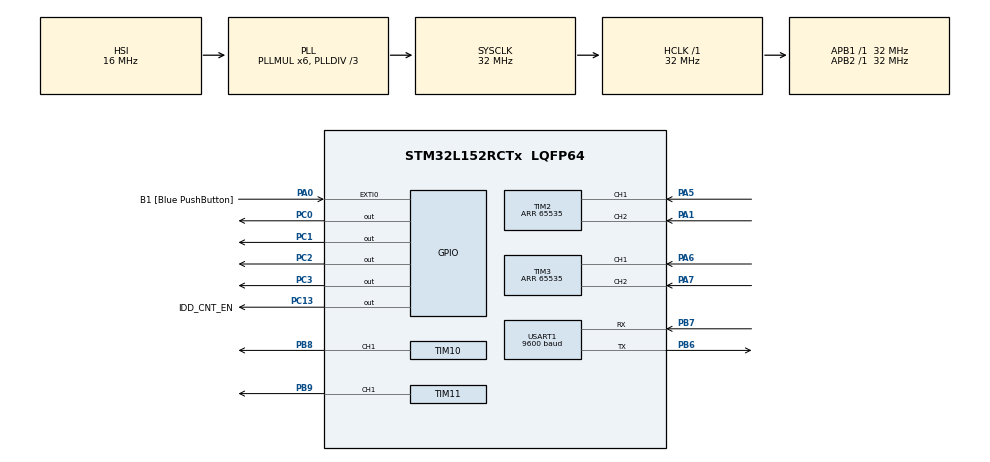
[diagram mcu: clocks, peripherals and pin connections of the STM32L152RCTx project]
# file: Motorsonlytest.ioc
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Mcu.Family=STM32L1
Mcu.Name=STM32L152RCTx
Mcu.Package=LQFP64
NVIC.PriorityGroup=NVIC_PRIORITYGROUP_0
NVIC.TIM5_IRQn=true\:0\:0\:false\:false\:true\:true
NVIC.USART1_IRQn=true\:0\:0\:false\:false\:true\:true
PA0-WKUP1.GPIO_Label=B1 [Blue PushButton]
PA0-WKUP1.GPIO_ModeDefaultEXTI=GPIO_MODE_EVT_RISING
PA0-WKUP1.GPIO_PuPd=GPIO_NOPULL
PA0-WKUP1.Signal=GPXTI0
PA1.GPIO_PuPd=GPIO_PULLUP
PA1.Signal=S_TIM2_CH2
PA10.GPIO_Label=COM2 [GH08172T_COM2]
PA10.GPIO_Mode=GPIO_MODE_AF_PP
PA10.GPIO_PuPd=GPIO_NOPULL
PA10.GPIO_Speed=GPIO_SPEED_FREQ_LOW
PA10.Signal=LCD_COM2
PA13.GPIO_Label=SWDIO
PA13.Signal=SYS_JTMS-SWDIO
PA14.GPIO_Label=SWCLK
PA14.Signal=SYS_JTCK-SWCLK
PA15.GPIO_Label=SEG12 [GH08172T_SEG12]
PA15.GPIO_Mode=GPIO_MODE_AF_PP
PA15.GPIO_PuPd=GPIO_NOPULL
PA15.GPIO_Speed=GPIO_SPEED_FREQ_LOW
PA15.Signal=LCD_SEG17
PA2.GPIO_Label=SEG1 [GH08172T_SEG1]
PA2.GPIO_Mode=GPIO_MODE_AF_PP
PA2.GPIO_PuPd=GPIO_NOPULL
PA2.GPIO_Speed=GPIO_SPEED_FREQ_LOW
PA2.Signal=LCD_SEG1
PA3.GPIO_Label=SEG2 [GH08172T_SEG2]
PA3.GPIO_Mode=GPIO_MODE_AF_PP
PA3.GPIO_PuPd=GPIO_NOPULL
PA3.GPIO_Speed=GPIO_SPEED_FREQ_LOW
PA3.Signal=LCD_SEG2
PA4.GPIO_Label=IDD_Measurement
PA4.GPIO_Mode=GPIO_MODE_ANALOG
PA4.GPIO_PuPd=GPIO_NOPULL
PA4.Signal=ADC_IN4
PA5.GPIO_PuPd=GPIO_PULLUP
PA5.Signal=S_TIM2_CH1_ETR
PA6.GPIO_PuPd=GPIO_PULLUP
PA6.Signal=S_TIM3_CH1
PA7.GPIO_PuPd=GPIO_PULLUP
PA7.Signal=S_TIM3_CH2
PA8.GPIO_Label=COM0 [GH08172T_COM0]
PA8.GPIO_Mode=GPIO_MODE_AF_PP
PA8.GPIO_PuPd=GPIO_NOPULL
PA8.GPIO_Speed=GPIO_SPEED_FREQ_LOW
PA8.Signal=LCD_COM0
PA9.GPIO_Label=COM1 [GH08172T_COM1]
PA9.GPIO_Mode=GPIO_MODE_AF_PP
PA9.GPIO_PuPd=GPIO_NOPULL
PA9.GPIO_Speed=GPIO_SPEED_FREQ_LOW
PA9.Signal=LCD_COM1
PB0.GPIO_Label=GRP3_Sampling [Touch_Slider_3]
PB0.Signal=TS_G3_IO1
PB1.GPIO_Label=GRP3_Ground [Touch_Slider_3]
PB1.Signal=TS_G3_IO2
PB10.GPIO_Label=SEG6 [GH08172T_SEG6]
PB10.GPIO_Mode=GPIO_MODE_AF_PP
PB10.GPIO_PuPd=GPIO_NOPULL
PB10.GPIO_Speed=GPIO_SPEED_FREQ_LOW
PB10.Signal=LCD_SEG10
PB11.GPIO_Label=SEG7 [GH08172T_SEG7]
PB11.GPIO_Mode=GPIO_MODE_AF_PP
PB11.GPIO_PuPd=GPIO_NOPULL
PB11.GPIO_Speed=GPIO_SPEED_FREQ_LOW
PB11.Signal=LCD_SEG11
PB12.GPIO_Label=SEG8 [GH08172T_SEG8]
PB12.GPIO_Mode=GPIO_MODE_AF_PP
PB12.GPIO_PuPd=GPIO_NOPULL
PB12.GPIO_Speed=GPIO_SPEED_FREQ_LOW
PB12.Signal=LCD_SEG12
PB13.GPIO_Label=SEG9 [GH08172T_SEG9]
PB13.GPIO_Mode=GPIO_MODE_AF_PP
PB13.GPIO_PuPd=GPIO_NOPULL
PB13.GPIO_Speed=GPIO_SPEED_FREQ_LOW
PB13.Signal=LCD_SEG13
PB14.GPIO_Label=SEG10 [GH08172T_SEG10]
PB14.GPIO_Mode=GPIO_MODE_AF_PP
PB14.GPIO_PuPd=GPIO_NOPULL
PB14.GPIO_Speed=GPIO_SPEED_FREQ_LOW
PB14.Signal=LCD_SEG14
PB15.GPIO_Label=SEG11 [GH08172T_SEG11]
PB15.GPIO_Mode=GPIO_MODE_AF_PP
PB15.GPIO_PuPd=GPIO_NOPULL
PB15.GPIO_Speed=GPIO_SPEED_FREQ_LOW
PB15.Signal=LCD_SEG15
PB3.GPIO_Label=SEG3 [GH08172T_SEG3]
PB3.GPIO_Mode=GPIO_MODE_AF_PP
PB3.GPIO_PuPd=GPIO_NOPULL
PB3.GPIO_Speed=GPIO_SPEED_FREQ_LOW
PB3.Signal=LCD_SEG7
PB4.GPIO_Label=SEG4 [GH08172T_SEG4]
PB4.GPIO_Mode=GPIO_MODE_AF_PP
PB4.GPIO_PuPd=GPIO_NOPULL
PB4.GPIO_Speed=GPIO_SPEED_FREQ_LOW
PB4.Signal=LCD_SEG8
PB5.GPIO_Label=SEG5 [GH08172T_SEG5]
PB5.GPIO_Mode=GPIO_MODE_AF_PP
PB5.GPIO_PuPd=GPIO_NOPULL
PB5.GPIO_Speed=GPIO_SPEED_FREQ_LOW
PB5.Signal=LCD_SEG9
PB6.Mode=Asynchronous
PB6.Signal=USART1_TX
PB7.Mode=Asynchronous
PB7.Signal=USART1_RX
PB8.Signal=S_TIM10_CH1
PB9.Signal=S_TIM11_CH1
PC0.Signal=GPIO_Output
PC1.Signal=GPIO_Output
PC10.GPIO_Label=SEG22 [GH08172T_SEG22]
PC10.GPIO_Mode=GPIO_MODE_AF_PP
PC10.GPIO_PuPd=GPIO_NOPULL
PC10.GPIO_Speed=GPIO_SPEED_FREQ_LOW
PC10.Signal=LCD_SEG28
PC11.GPIO_Label=SEG23 [GH08172T_SEG23]
PC11.GPIO_Mode=GPIO_MODE_AF_PP
PC11.GPIO_PuPd=GPIO_NOPULL
PC11.GPIO_Speed=GPIO_SPEED_FREQ_LOW
PC11.Signal=LCD_SEG29
PC13-WKUP2.GPIO_Label=IDD_CNT_EN
PC13-WKUP2.Signal=GPIO_Output
PC14-OSC32_IN.GPIO_Label=PC14-OSC32_IN
PC14-OSC32_IN.Signal=RCC_OSC32_IN
PC15-OSC32_OUT.GPIO_Label=PC15-OSC32_OUT
PC15-OSC32_OUT.Signal=RCC_OSC32_OUT
PC2.Signal=GPIO_Output
PC3.Signal=GPIO_Output
PC4.GPIO_Label=GRP9_Sampling [Touch_Slider_2]
PC4.Signal=TS_G9_IO1
PC5.GPIO_Label=GRP9_Ground [Touch_Slider_2]
PC5.Signal=TS_G9_IO2
PC6.GPIO_Label=SEG18 [GH08172T_SEG18]
PC6.GPIO_Mode=GPIO_MODE_AF_PP
PC6.GPIO_PuPd=GPIO_NOPULL
PC6.GPIO_Speed=GPIO_SPEED_FREQ_LOW
PC6.Signal=LCD_SEG24
PC7.GPIO_Label=SEG19 [GH08172T_SEG19]
PC7.GPIO_Mode=GPIO_MODE_AF_PP
PC7.GPIO_PuPd=GPIO_NOPULL
PC7.GPIO_Speed=GPIO_SPEED_FREQ_LOW
PC7.Signal=LCD_SEG25
PC8.GPIO_Label=SEG20 [GH08172T_SEG20]
PC8.GPIO_Mode=GPIO_MODE_AF_PP
PC8.GPIO_PuPd=GPIO_NOPULL
PC8.GPIO_Speed=GPIO_SPEED_FREQ_LOW
PC8.Signal=LCD_SEG26
PC9.GPIO_Label=SEG21 [GH08172T_SEG21]
PC9.GPIO_Mode=GPIO_MODE_AF_PP
PC9.GPIO_PuPd=GPIO_NOPULL
PC9.GPIO_Speed=GPIO_SPEED_FREQ_LOW
PC9.Signal=LCD_SEG27
ProjectManager.HeapSize=0x200
ProjectManager.StackSize=0x400
ProjectManager.TargetToolchain=TrueSTUDIO
RCC.48MHZClocksFreq_Value=48000000
RCC.AHBFreq_Value=32000000
RCC.APB1Freq_Value=32000000
RCC.APB1TimFreq_Value=32000000
RCC.APB2Freq_Value=32000000
RCC.APB2TimFreq_Value=32000000
RCC.HCLKFreq_Value=32000000
RCC.HSE_VALUE=8000000
RCC.HSI_VALUE=16000000
RCC.LSE_VALUE=32768
RCC.MSI_VALUE=2097000
RCC.PLLDIV=RCC_PLL_DIV3
RCC.PLLMUL=RCC_PLL_MUL6
RCC.RTCClockSelectionVirtual=RCC_RTCCLKSOURCE_LSE
RCC.SYSCLKFreq_VALUE=32000000
RCC.SYSCLKSource=RCC_SYSCLKSOURCE_PLLCLK
RCC.USBOutput=48000000
RCC.VCOOutputFreq_Value=96000000
SH.S_TIM10_CH1.0=TIM10_CH1,PWM Generation1 CH1
SH.S_TIM11_CH1.0=TIM11_CH1,PWM Generation1 CH1
SH.S_TIM2_CH1_ETR.0=TIM2_CH1,Encoder_Interface
SH.S_TIM2_CH2.0=TIM2_CH2,Encoder_Interface
SH.S_TIM3_CH1.0=TIM3_CH1,Encoder_Interface
SH.S_TIM3_CH2.0=TIM3_CH2,Encoder_Interface
TIM10.Channel=TIM_CHANNEL_1
TIM10.Period=65535
TIM11.Channel=TIM_CHANNEL_1
TIM11.Period=65535
TIM2.EncoderMode=TIM_ENCODERMODE_TI12
TIM2.Period=65535
TIM3.Period=65535
TIM5.Period=3200000
USART1.BaudRate=9600
USART1.VirtualMode=VM_ASYNC
VP_TIM10_VS_ClockSourceINT.Mode=Internal
VP_TIM11_VS_ClockSourceINT.Mode=Internal
VP_TIM5_VS_ClockSourceINT.Mode=Internal
board=32L152CDISCOVERY

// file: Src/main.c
/**
  ******************************************************************************
  * @file           : main.c
  * @brief          : Main program body
  ******************************************************************************
  ** This notice applies to any and all portions of this file
  * that are not between comment pairs USER CODE BEGIN and
  * USER CODE END. Other portions of this file, whether
  * inserted by the user or by software development tools
  * are owned by their respective copyright owners.
  *
  * COPYRIGHT(c) 2018 STMicroelectronics
  *
  * Redistribution and use in source and binary forms, with or without modification,
  * are permitted provided that the following conditions are met:
  *   1. Redistributions of source code must retain the above copyright notice,
  *      this list of conditions and the following disclaimer.
  *   2. Redistributions in binary form must reproduce the above copyright notice,
  *      this list of conditions and the following disclaimer in the documentation
  *      and/or other materials provided with the distribution.
  *   3. Neither the name of STMicroelectronics nor the names of its contributors
  *      may be used to endorse or promote products derived from this software
  *      without specific prior written permission.
  *
  * THIS SOFTWARE IS PROVIDED BY THE COPYRIGHT HOLDERS AND CONTRIBUTORS "AS IS"
  * AND ANY EXPRESS OR IMPLIED WARRANTIES, INCLUDING, BUT NOT LIMITED TO, THE
  * IMPLIED WARRANTIES OF MERCHANTABILITY AND FITNESS FOR A PARTICULAR PURPOSE ARE
  * DISCLAIMED. IN NO EVENT SHALL THE COPYRIGHT HOLDER OR CONTRIBUTORS BE LIABLE
  * FOR ANY DIRECT, INDIRECT, INCIDENTAL, SPECIAL, EXEMPLARY, OR CONSEQUENTIAL
  * DAMAGES (INCLUDING, BUT NOT LIMITED TO, PROCUREMENT OF SUBSTITUTE GOODS OR
  * SERVICES; LOSS OF USE, DATA, OR PROFITS; OR BUSINESS INTERRUPTION) HOWEVER
  * CAUSED AND ON ANY THEORY OF LIABILITY, WHETHER IN CONTRACT, STRICT LIABILITY,
  * OR TORT (INCLUDING NEGLIGENCE OR OTHERWISE) ARISING IN ANY WAY OUT OF THE USE
  * OF THIS SOFTWARE, EVEN IF ADVISED OF THE POSSIBILITY OF SUCH DAMAGE.
  *
  ******************************************************************************
  */
#include "main.h"
#include "stm32l1xx_hal.h"
#include <stdio.h>
#include <string.h>
#include <stdbool.h>
//#include <math.h>
#include <stdlib.h>
#include "pid_controller.h"
TIM_HandleTypeDef htim2;
TIM_HandleTypeDef htim3;
TIM_HandleTypeDef htim5;
TIM_HandleTypeDef htim10;
TIM_HandleTypeDef htim11;

UART_HandleTypeDef huart1;

/* USER CODE BEGIN PV */
/* Private variables ---------------------------------------------------------*/
#ifndef M_PI
#    define M_PI 3.14159265358979323846
#endif
#define WHEELRAD 90.0
#define CENTERDIS 350
#define KP 0
#define KI 0
#define KD 0
PIDControl PIDR;
PIDControl PIDL;
unsigned char Rx_indx, Rx_data[2], Rx_Buffer[100];
int Transfer_cplt;
enum states {
  STP,
  MOV
};

enum states state;
struct motor{
	float setRPM;
	bool dir;
	float distance_traveled;
	float prevpos;
	float setDis;
	uint16_t prevcount;
};
struct motor left;
struct motor right;
bool distance_set = false;
bool angle_set = false;
/* USER CODE END PV */
//reassign printf to usart1
#ifdef __GNUC__
  /* With GCC/RAISONANCE, small printf (option LD Linker->Libraries->Small printf
     set to 'Yes') calls __io_putchar() */
  #define PUTCHAR_PROTOTYPE int __io_putchar(int ch)
#else
  #define PUTCHAR_PROTOTYPE int fputc(int ch, FILE *f)
#endif /* __GNUC__ */

/**
  * @brief  Retargets the C library printf function to the USART.
  * @param  None
  * @retval None
  */
PUTCHAR_PROTOTYPE
{
    /* Place your implementation of fputc here */
    /* e.g. write a character to the USART */
    HAL_UART_Transmit(&huart1, (uint8_t *)&ch, 1, 100);
    return ch;
}
void SystemClock_Config(void);
static void MX_GPIO_Init(void);
static void MX_TIM2_Init(void);
static void MX_TIM3_Init(void);
static void MX_TIM10_Init(void);
static void MX_TIM11_Init(void);
static void MX_USART1_UART_Init(void);
static void MX_TIM5_Init(void);

void HAL_TIM_MspPostInit(TIM_HandleTypeDef *htim);
void setLin(float dis, float spd);
void setArc(float r, float w, float phi);
void setPWM(TIM_HandleTypeDef timer, uint32_t channel, uint16_t period,
uint16_t pulse);
static void initMot(void);

/* USER CODE BEGIN PFP */
/* Private function prototypes -----------------------------------------------*/

/* USER CODE END PFP */

int main(void)
{

  /* MCU Configuration----------------------------------------------------------*/

  /* Reset of all peripherals, Initializes the Flash interface and the Systick. */
  HAL_Init();

  /* Configure the system clock */
  SystemClock_Config();

  /* Initialize all configured peripherals */
  MX_GPIO_Init();
  MX_TIM2_Init();
  MX_TIM3_Init();
  MX_TIM10_Init();
  MX_TIM11_Init();
  MX_USART1_UART_Init();
  MX_TIM5_Init();
  /* USER CODE BEGIN 2 */
  HAL_TIM_Base_Start(&htim10);
  HAL_TIM_Base_Start(&htim11);
  HAL_TIM_PWM_Start(&htim10,TIM_CHANNEL_1);
  HAL_TIM_PWM_Start(&htim11,TIM_CHANNEL_1);
  HAL_TIM_Encoder_Start(&htim2,TIM_CHANNEL_ALL);
  HAL_TIM_Encoder_Start(&htim3,TIM_CHANNEL_ALL);
  HAL_TIM_Base_Start_IT(&htim5);
  Transfer_cplt = 0;
  HAL_UART_Receive_IT(&huart1, Rx_data, 1);   //activate UART receive interrupt
  initMot();
  PIDInit(&PIDR, KP, KI, KD, .1, 0, 255, AUTOMATIC, DIRECT);
  PIDInit(&PIDL, KP, KI, KD, .1, 0, 255, AUTOMATIC, DIRECT);
  /* USER CODE END 2 */

  /* Infinite loop */
  while (1)
  {
	  if(Transfer_cplt >= 1)
	  {
		  char cmd[100];
		  memset(cmd,0,sizeof cmd);
		  strcpy(cmd, Rx_Buffer);
		  cmd[Transfer_cplt]='\0';
		  char* tkpnt;
		  tkpnt = strtok(cmd, " ");
		  if(strncmp(tkpnt, "l",1)==0){
		  }else if(strncmp(tkpnt, "l",1)==0){
			tkpnt = strtok(NULL, " ");
			float lindis = atof(tkpnt);
			tkpnt = strtok(NULL, " ");
			float linspd = atof(tkpnt);
			setLin(lindis, linspd);
			state = MOV;
		  }
		  else if (strncmp(tkpnt, "r",1)==0)
		  {
			tkpnt = strtok(NULL, " ");
			float rotomega = atof(tkpnt);
			tkpnt = strtok(NULL, " ");
			float rotphi = atof(tkpnt);
			float rotR = 0.0;
			setArc(rotR, rotomega, rotphi);
			state = MOV;
		  }
		  else if (strncmp(tkpnt, "a",1)==0)
		  {
			tkpnt = strtok(NULL, " ");
			float rotR = atof(tkpnt);
			tkpnt = strtok(NULL, " ");
			float rotomega = atof(tkpnt);
			tkpnt = strtok(NULL, " ");
			float rotphi = atof(tkpnt);
			setArc(rotR, rotomega, rotphi);
			state = MOV;
		  }
		  else
		  {
			state = STP;
		  }
	  }

  }

}

void SystemClock_Config(void)
{

  RCC_OscInitTypeDef RCC_OscInitStruct;
  RCC_ClkInitTypeDef RCC_ClkInitStruct;

    /**Configure the main internal regulator output voltage
    */
  __HAL_PWR_VOLTAGESCALING_CONFIG(PWR_REGULATOR_VOLTAGE_SCALE1);

    /**Initializes the CPU, AHB and APB busses clocks
    */
  RCC_OscInitStruct.OscillatorType = RCC_OSCILLATORTYPE_HSI;
  RCC_OscInitStruct.HSIState = RCC_HSI_ON;
  RCC_OscInitStruct.HSICalibrationValue = 16;
  RCC_OscInitStruct.PLL.PLLState = RCC_PLL_ON;
  RCC_OscInitStruct.PLL.PLLSource = RCC_PLLSOURCE_HSI;
  RCC_OscInitStruct.PLL.PLLMUL = RCC_PLL_MUL6;
  RCC_OscInitStruct.PLL.PLLDIV = RCC_PLL_DIV3;
  if (HAL_RCC_OscConfig(&RCC_OscInitStruct) != HAL_OK)
  {
    _Error_Handler(__FILE__, __LINE__);
  }

    /**Initializes the CPU, AHB and APB busses clocks
    */
  RCC_ClkInitStruct.ClockType = RCC_CLOCKTYPE_HCLK|RCC_CLOCKTYPE_SYSCLK
                              |RCC_CLOCKTYPE_PCLK1|RCC_CLOCKTYPE_PCLK2;
  RCC_ClkInitStruct.SYSCLKSource = RCC_SYSCLKSOURCE_PLLCLK;
  RCC_ClkInitStruct.AHBCLKDivider = RCC_SYSCLK_DIV1;
  RCC_ClkInitStruct.APB1CLKDivider = RCC_HCLK_DIV1;
  RCC_ClkInitStruct.APB2CLKDivider = RCC_HCLK_DIV1;

  if (HAL_RCC_ClockConfig(&RCC_ClkInitStruct, FLASH_LATENCY_1) != HAL_OK)
  {
    _Error_Handler(__FILE__, __LINE__);
  }

    /**Configure the Systick interrupt time
    */
  HAL_SYSTICK_Config(HAL_RCC_GetHCLKFreq()/1000);

    /**Configure the Systick
    */
  HAL_SYSTICK_CLKSourceConfig(SYSTICK_CLKSOURCE_HCLK);

  /* SysTick_IRQn interrupt configuration */
  HAL_NVIC_SetPriority(SysTick_IRQn, 0, 0);
}

/* TIM2 init function */
static void MX_TIM2_Init(void)
{

  TIM_Encoder_InitTypeDef sConfig;
  TIM_MasterConfigTypeDef sMasterConfig;

  htim2.Instance = TIM2;
  htim2.Init.Prescaler = 0;
  htim2.Init.CounterMode = TIM_COUNTERMODE_UP;
  htim2.Init.Period = 65535;
  htim2.Init.ClockDivision = TIM_CLOCKDIVISION_DIV1;
  sConfig.EncoderMode = TIM_ENCODERMODE_TI12;
  sConfig.IC1Polarity = TIM_ICPOLARITY_RISING;
  sConfig.IC1Selection = TIM_ICSELECTION_DIRECTTI;
  sConfig.IC1Prescaler = TIM_ICPSC_DIV1;
  sConfig.IC1Filter = 0;
  sConfig.IC2Polarity = TIM_ICPOLARITY_RISING;
  sConfig.IC2Selection = TIM_ICSELECTION_DIRECTTI;
  sConfig.IC2Prescaler = TIM_ICPSC_DIV1;
  sConfig.IC2Filter = 0;
  if (HAL_TIM_Encoder_Init(&htim2, &sConfig) != HAL_OK)
  {
    _Error_Handler(__FILE__, __LINE__);
  }

  sMasterConfig.MasterOutputTrigger = TIM_TRGO_RESET;
  sMasterConfig.MasterSlaveMode = TIM_MASTERSLAVEMODE_DISABLE;
  if (HAL_TIMEx_MasterConfigSynchronization(&htim2, &sMasterConfig) != HAL_OK)
  {
    _Error_Handler(__FILE__, __LINE__);
  }

}

/* TIM3 init function */
static void MX_TIM3_Init(void)
{

  TIM_Encoder_InitTypeDef sConfig;
  TIM_MasterConfigTypeDef sMasterConfig;

  htim3.Instance = TIM3;
  htim3.Init.Prescaler = 0;
  htim3.Init.CounterMode = TIM_COUNTERMODE_UP;
  htim3.Init.Period = 65535;
  htim3.Init.ClockDivision = TIM_CLOCKDIVISION_DIV1;
  sConfig.EncoderMode = TIM_ENCODERMODE_TI1;
  sConfig.IC1Polarity = TIM_ICPOLARITY_RISING;
  sConfig.IC1Selection = TIM_ICSELECTION_DIRECTTI;
  sConfig.IC1Prescaler = TIM_ICPSC_DIV1;
  sConfig.IC1Filter = 0;
  sConfig.IC2Polarity = TIM_ICPOLARITY_RISING;
  sConfig.IC2Selection = TIM_ICSELECTION_DIRECTTI;
  sConfig.IC2Prescaler = TIM_ICPSC_DIV1;
  sConfig.IC2Filter = 0;
  if (HAL_TIM_Encoder_Init(&htim3, &sConfig) != HAL_OK)
  {
    _Error_Handler(__FILE__, __LINE__);
  }

  sMasterConfig.MasterOutputTrigger = TIM_TRGO_RESET;
  sMasterConfig.MasterSlaveMode = TIM_MASTERSLAVEMODE_DISABLE;
  if (HAL_TIMEx_MasterConfigSynchronization(&htim3, &sMasterConfig) != HAL_OK)
  {
    _Error_Handler(__FILE__, __LINE__);
  }

}

/* TIM5 init function */
static void MX_TIM5_Init(void)
{

  TIM_ClockConfigTypeDef sClockSourceConfig;
  TIM_MasterConfigTypeDef sMasterConfig;

  htim5.Instance = TIM5;
  htim5.Init.Prescaler = 0;
  htim5.Init.CounterMode = TIM_COUNTERMODE_UP;
  htim5.Init.Period = 3200000;
  htim5.Init.ClockDivision = TIM_CLOCKDIVISION_DIV1;
  if (HAL_TIM_Base_Init(&htim5) != HAL_OK)
  {
    _Error_Handler(__FILE__, __LINE__);
  }

  sClockSourceConfig.ClockSource = TIM_CLOCKSOURCE_INTERNAL;
  if (HAL_TIM_ConfigClockSource(&htim5, &sClockSourceConfig) != HAL_OK)
  {
    _Error_Handler(__FILE__, __LINE__);
  }

  sMasterConfig.MasterOutputTrigger = TIM_TRGO_RESET;
  sMasterConfig.MasterSlaveMode = TIM_MASTERSLAVEMODE_DISABLE;
  if (HAL_TIMEx_MasterConfigSynchronization(&htim5, &sMasterConfig) != HAL_OK)
  {
    _Error_Handler(__FILE__, __LINE__);
  }

}

/* TIM10 init function */
static void MX_TIM10_Init(void)
{

  TIM_ClockConfigTypeDef sClockSourceConfig;
  TIM_OC_InitTypeDef sConfigOC;

  htim10.Instance = TIM10;
  htim10.Init.Prescaler = 0;
  htim10.Init.CounterMode = TIM_COUNTERMODE_UP;
  htim10.Init.Period = 65535;
  htim10.Init.ClockDivision = TIM_CLOCKDIVISION_DIV1;
  if (HAL_TIM_Base_Init(&htim10) != HAL_OK)
  {
    _Error_Handler(__FILE__, __LINE__);
  }

  sClockSourceConfig.ClockSource = TIM_CLOCKSOURCE_INTERNAL;
  if (HAL_TIM_ConfigClockSource(&htim10, &sClockSourceConfig) != HAL_OK)
  {
    _Error_Handler(__FILE__, __LINE__);
  }

  if (HAL_TIM_PWM_Init(&htim10) != HAL_OK)
  {
    _Error_Handler(__FILE__, __LINE__);
  }

  sConfigOC.OCMode = TIM_OCMODE_PWM1;
  sConfigOC.Pulse = 0;
  sConfigOC.OCPolarity = TIM_OCPOLARITY_HIGH;
  sConfigOC.OCFastMode = TIM_OCFAST_DISABLE;
  if (HAL_TIM_PWM_ConfigChannel(&htim10, &sConfigOC, TIM_CHANNEL_1) != HAL_OK)
  {
    _Error_Handler(__FILE__, __LINE__);
  }

  HAL_TIM_MspPostInit(&htim10);

}

/* TIM11 init function */
static void MX_TIM11_Init(void)
{

  TIM_ClockConfigTypeDef sClockSourceConfig;
  TIM_OC_InitTypeDef sConfigOC;

  htim11.Instance = TIM11;
  htim11.Init.Prescaler = 0;
  htim11.Init.CounterMode = TIM_COUNTERMODE_UP;
  htim11.Init.Period = 65535;
  htim11.Init.ClockDivision = TIM_CLOCKDIVISION_DIV1;
  if (HAL_TIM_Base_Init(&htim11) != HAL_OK)
  {
    _Error_Handler(__FILE__, __LINE__);
  }

  sClockSourceConfig.ClockSource = TIM_CLOCKSOURCE_INTERNAL;
  if (HAL_TIM_ConfigClockSource(&htim11, &sClockSourceConfig) != HAL_OK)
  {
    _Error_Handler(__FILE__, __LINE__);
  }

  if (HAL_TIM_PWM_Init(&htim11) != HAL_OK)
  {
    _Error_Handler(__FILE__, __LINE__);
  }

  sConfigOC.OCMode = TIM_OCMODE_PWM1;
  sConfigOC.Pulse = 0;
  sConfigOC.OCPolarity = TIM_OCPOLARITY_HIGH;
  sConfigOC.OCFastMode = TIM_OCFAST_DISABLE;
  if (HAL_TIM_PWM_ConfigChannel(&htim11, &sConfigOC, TIM_CHANNEL_1) != HAL_OK)
  {
    _Error_Handler(__FILE__, __LINE__);
  }

  HAL_TIM_MspPostInit(&htim11);

}

/* USART1 init function */
static void MX_USART1_UART_Init(void)
{

  huart1.Instance = USART1;
  huart1.Init.BaudRate = 9600;
  huart1.Init.WordLength = UART_WORDLENGTH_8B;
  huart1.Init.StopBits = UART_STOPBITS_1;
  huart1.Init.Parity = UART_PARITY_NONE;
  huart1.Init.Mode = UART_MODE_TX_RX;
  huart1.Init.HwFlowCtl = UART_HWCONTROL_NONE;
  huart1.Init.OverSampling = UART_OVERSAMPLING_16;
  if (HAL_UART_Init(&huart1) != HAL_OK)
  {
    _Error_Handler(__FILE__, __LINE__);
  }

}

/** Configure pins as
        * Analog
        * Input
        * Output
        * EVENT_OUT
        * EXTI
     PA2   ------> LCD_SEG1
     PA3   ------> LCD_SEG2
     PA4   ------> ADC_IN4
     PC4   ------> TS_G9_IO1
     PC5   ------> TS_G9_IO2
     PB0   ------> TS_G3_IO1
     PB1   ------> TS_G3_IO2
     PB10   ------> LCD_SEG10
     PB11   ------> LCD_SEG11
     PB12   ------> LCD_SEG12
     PB13   ------> LCD_SEG13
     PB14   ------> LCD_SEG14
     PB15   ------> LCD_SEG15
     PC6   ------> LCD_SEG24
     PC7   ------> LCD_SEG25
     PC8   ------> LCD_SEG26
     PC9   ------> LCD_SEG27
     PA8   ------> LCD_COM0
     PA9   ------> LCD_COM1
     PA10   ------> LCD_COM2
     PA15   ------> LCD_SEG17
     PC10   ------> LCD_SEG28
     PC11   ------> LCD_SEG29
     PB3   ------> LCD_SEG7
     PB4   ------> LCD_SEG8
     PB5   ------> LCD_SEG9
*/
static void MX_GPIO_Init(void)
{

  GPIO_InitTypeDef GPIO_InitStruct;

  /* GPIO Ports Clock Enable */
  __HAL_RCC_GPIOC_CLK_ENABLE();
  __HAL_RCC_GPIOA_CLK_ENABLE();
  __HAL_RCC_GPIOB_CLK_ENABLE();

  /*Configure GPIO pin Output Level */
  HAL_GPIO_WritePin(GPIOC, IDD_CNT_EN_Pin|GPIO_PIN_0|GPIO_PIN_1|GPIO_PIN_2
                          |GPIO_PIN_3, GPIO_PIN_RESET);

  /*Configure GPIO pins : IDD_CNT_EN_Pin PC0 PC1 PC2
                           PC3 */
  GPIO_InitStruct.Pin = IDD_CNT_EN_Pin|GPIO_PIN_0|GPIO_PIN_1|GPIO_PIN_2
                          |GPIO_PIN_3;
  GPIO_InitStruct.Mode = GPIO_MODE_OUTPUT_PP;
  GPIO_InitStruct.Pull = GPIO_NOPULL;
  GPIO_InitStruct.Speed = GPIO_SPEED_FREQ_LOW;
  HAL_GPIO_Init(GPIOC, &GPIO_InitStruct);

  /*Configure GPIO pin : B1_Pin */
  GPIO_InitStruct.Pin = B1_Pin;
  GPIO_InitStruct.Mode = GPIO_MODE_EVT_RISING;
  GPIO_InitStruct.Pull = GPIO_NOPULL;
  HAL_GPIO_Init(B1_GPIO_Port, &GPIO_InitStruct);

  /*Configure GPIO pins : SEG1_Pin SEG2_Pin COM0_Pin COM1_Pin
                           COM2_Pin SEG12_Pin */
  GPIO_InitStruct.Pin = SEG1_Pin|SEG2_Pin|COM0_Pin|COM1_Pin
                          |COM2_Pin|SEG12_Pin;
  GPIO_InitStruct.Mode = GPIO_MODE_AF_PP;
  GPIO_InitStruct.Pull = GPIO_NOPULL;
  GPIO_InitStruct.Speed = GPIO_SPEED_FREQ_LOW;
  GPIO_InitStruct.Alternate = GPIO_AF11_LCD;
  HAL_GPIO_Init(GPIOA, &GPIO_InitStruct);

  /*Configure GPIO pin : IDD_Measurement_Pin */
  GPIO_InitStruct.Pin = IDD_Measurement_Pin;
  GPIO_InitStruct.Mode = GPIO_MODE_ANALOG;
  GPIO_InitStruct.Pull = GPIO_NOPULL;
  HAL_GPIO_Init(IDD_Measurement_GPIO_Port, &GPIO_InitStruct);

  /*Configure GPIO pins : GRP9_Sampling_Pin GRP9_Ground_Pin */
  GPIO_InitStruct.Pin = GRP9_Sampling_Pin|GRP9_Ground_Pin;
  GPIO_InitStruct.Mode = GPIO_MODE_ANALOG;
  GPIO_InitStruct.Pull = GPIO_NOPULL;
  HAL_GPIO_Init(GPIOC, &GPIO_InitStruct);

  /*Configure GPIO pins : GRP3_Sampling_Pin GRP3_Ground_Pin */
  GPIO_InitStruct.Pin = GRP3_Sampling_Pin|GRP3_Ground_Pin;
  GPIO_InitStruct.Mode = GPIO_MODE_ANALOG;
  GPIO_InitStruct.Pull = GPIO_NOPULL;
  HAL_GPIO_Init(GPIOB, &GPIO_InitStruct);

  /*Configure GPIO pins : SEG6_Pin SEG7_Pin SEG8_Pin SEG9_Pin
                           SEG10_Pin SEG11_Pin SEG3_Pin SEG4_Pin
                           SEG5_Pin */
  GPIO_InitStruct.Pin = SEG6_Pin|SEG7_Pin|SEG8_Pin|SEG9_Pin
                          |SEG10_Pin|SEG11_Pin|SEG3_Pin|SEG4_Pin
                          |SEG5_Pin;
  GPIO_InitStruct.Mode = GPIO_MODE_AF_PP;
  GPIO_InitStruct.Pull = GPIO_NOPULL;
  GPIO_InitStruct.Speed = GPIO_SPEED_FREQ_LOW;
  GPIO_InitStruct.Alternate = GPIO_AF11_LCD;
  HAL_GPIO_Init(GPIOB, &GPIO_InitStruct);

  /*Configure GPIO pins : SEG18_Pin SEG19_Pin SEG20_Pin SEG21_Pin
                           SEG22_Pin SEG23_Pin */
  GPIO_InitStruct.Pin = SEG18_Pin|SEG19_Pin|SEG20_Pin|SEG21_Pin
                          |SEG22_Pin|SEG23_Pin;
  GPIO_InitStruct.Mode = GPIO_MODE_AF_PP;
  GPIO_InitStruct.Pull = GPIO_NOPULL;
  GPIO_InitStruct.Speed = GPIO_SPEED_FREQ_LOW;
  GPIO_InitStruct.Alternate = GPIO_AF11_LCD;
  HAL_GPIO_Init(GPIOC, &GPIO_InitStruct);

}

/* USER CODE BEGIN 4 */
void HAL_TIM_PeriodElapsedCallback(TIM_HandleTypeDef *htim){
	if(state == STP){
		return;
	}
	if(right.dir == true) {
		HAL_GPIO_WritePin(GPIOC, GPIO_PIN_0, GPIO_PIN_SET);
		HAL_GPIO_WritePin(GPIOC, GPIO_PIN_1, GPIO_PIN_RESET);
	} else if (right.setRPM == 0.0) {
		HAL_GPIO_WritePin(GPIOC, GPIO_PIN_0, GPIO_PIN_RESET);
		HAL_GPIO_WritePin(GPIOC, GPIO_PIN_1, GPIO_PIN_RESET);
	} else {
		HAL_GPIO_WritePin(GPIOC, GPIO_PIN_0, GPIO_PIN_RESET);
		HAL_GPIO_WritePin(GPIOC, GPIO_PIN_1, GPIO_PIN_SET);
	}
	if(left.dir == true) {
		HAL_GPIO_WritePin(GPIOC, GPIO_PIN_2, GPIO_PIN_SET);
		HAL_GPIO_WritePin(GPIOC, GPIO_PIN_3, GPIO_PIN_RESET);
	} else if (left.setRPM == 0.0) {
		HAL_GPIO_WritePin(GPIOC, GPIO_PIN_2, GPIO_PIN_RESET);
		HAL_GPIO_WritePin(GPIOC, GPIO_PIN_3, GPIO_PIN_RESET);
	} else {
		HAL_GPIO_WritePin(GPIOC, GPIO_PIN_2, GPIO_PIN_RESET);
		HAL_GPIO_WritePin(GPIOC, GPIO_PIN_3, GPIO_PIN_SET);
	}
	uint16_t newposition1;
	uint16_t newposition2;
	if(__HAL_TIM_IS_TIM_COUNTING_DOWN(&htim3)){
		if(right.prevcount < __HAL_TIM_GET_COUNTER(&htim3)){
			newposition1 = 65535-__HAL_TIM_GET_COUNTER(&htim3) +right.prevcount;
		}else{
			newposition1 =abs(__HAL_TIM_GET_COUNTER(&htim3)-right.prevcount);
		}
	}else{
		if(right.prevcount < __HAL_TIM_GET_COUNTER(&htim3)){
			newposition1 = __HAL_TIM_GET_COUNTER(&htim3) + 65535 - right.prevcount;
		}else{
			newposition1 =abs(__HAL_TIM_GET_COUNTER(&htim3)-right.prevcount);
		}
	}
	if(__HAL_TIM_IS_TIM_COUNTING_DOWN(&htim2)){
			if(left.prevcount < __HAL_TIM_GET_COUNTER(&htim2)){
				newposition2 = 65535-__HAL_TIM_GET_COUNTER(&htim2) +left.prevcount;
			}else{
				newposition2 =abs(__HAL_TIM_GET_COUNTER(&htim2)-left.prevcount);
			}
		}else{
			if(left.prevcount < __HAL_TIM_GET_COUNTER(&htim3)){
				newposition2 = __HAL_TIM_GET_COUNTER(&htim2) + 65535 - left.prevcount;
			}else{
				newposition2 =abs(__HAL_TIM_GET_COUNTER(&htim2)-left.prevcount);
			}
		}
	float vel1 = ((float)newposition1) * 1000.0 / (100.0); //encoder pulses per second
	float rpm1 = ((vel1 * 60)/1500); //Measured motor RPM
	float vel2 = ((float)newposition2) * 1000.0 / (100.0); //encoder pulses per second
	float rpm2 = ((vel2 * 60)/1500);
	float realspeed1 = (rpm1 * 2 * M_PI *WHEELRAD)/60; //Linear speed in mm/s
	float realspeed2 = (rpm2 * 2 * M_PI *WHEELRAD)/60; //Linear speed in mm/s
	if (right.dir)
	{
	rpm1 = -1*rpm1;
	}
	if (left.dir)
	{
	rpm2 = -1*rpm2;
	}
	PIDSetpointSet(&PIDR,right.setRPM);
	PIDInputSet(&PIDR,rpm1);
	PIDSetpointSet(&PIDL,left.setRPM);
	PIDInputSet(&PIDL,rpm2);
	PIDCompute(&PIDR);
	PIDCompute(&PIDL);
	uint8_t speed1 = (uint8_t)PIDOutputGet(&PIDR);
	uint8_t speed2 = (uint8_t)PIDOutputGet(&PIDL);
	setPWM(htim11,TIM_CHANNEL_1, 255, (uint8_t)speed1);
	setPWM(htim10,TIM_CHANNEL_1, 255, (uint8_t)speed2);
    right.distance_traveled = right.distance_traveled + (realspeed1*100*1e-3); //integrate linear velocity to obtain distance
	left.distance_traveled = left.distance_traveled + (realspeed2*100*1e-3); //integrate linear velocity to obtain distance
	if ((abs(right.distance_traveled-right.setDis) <= 5)||(abs(left.distance_traveled-left.setDis) <= 5) ){
		right.setRPM = 0.0; //Brake
		right.dir = false;
		left.setRPM = 0.0; //Brake
		left.dir = false;
		right.setDis = 0.0;
		left.setDis = 0.0;
		angle_set = false; //Re-initialize the targeting to an angle rotation
		distance_set = false;
		state = STP;
	}
	right.prevpos = newposition1;
	left.prevpos = newposition2;
	return;
}
//Interrupt callback routine
void HAL_UART_RxCpltCallback(UART_HandleTypeDef *huart)
{
    uint8_t i;
    if (huart->Instance == USART1)  //current UART
        {
        if (Rx_indx==0) {for (i=0;i<100;i++) Rx_Buffer[i]=0;}   //clear Rx_Buffer before receiving new data

        if (Rx_data[0]!=10) //if received data different from ascii 10 (newline)
            {
            Rx_Buffer[Rx_indx++]=Rx_data[0];    //add data to Rx_Buffer
            }
        else            //if received data = 13
            {
        	Transfer_cplt=Rx_indx;//transfer complete, data is ready to read
            Rx_indx=0;
            }

        HAL_UART_Receive_IT(&huart1, Rx_data, 1);   //activate UART receive interrupt every time
        }

}
void setLin(float dis, float spd){
  right.setRPM = (spd/(2*M_PI*WHEELRAD))*60;
  left.setRPM = right.setRPM;

  if (right.setRPM < 0){
    right.setRPM = -1*right.setRPM;
    left.setRPM = -1*left.setRPM;
    right.dir = true;
    left.dir = true;
  }
  else
  {
    right.dir = false;
    left.dir = false;
  }

  right.setDis = dis;
  left.setDis = dis;
  //Re-initialize targeting to a rotation/distance
  right.distance_traveled = 0.0;
  left.distance_traveled = 0.0;

  return;
}
void setArc(float R/*mm*/, float w/*degrees/s*/, float phi/*degrees*/){
  float scalingfactor = 60.0/360.0;
  right.setRPM = (w*(R+CENTERDIS))*scalingfactor*(1/WHEELRAD);
  left.setRPM = (w*(R-CENTERDIS))*scalingfactor*(1/WHEELRAD);

  if (right.setRPM < 0){
    right.setRPM = -1*right.setRPM;
    right.dir = true;
  }
  else
  {
    right.dir = false;
  }

  if (left.setRPM < 0){
    left.setRPM = -1*left.setRPM;
    left.dir = true;
  }
  else
  {
    left.dir = false;
  }
  right.setDis = abs((R+CENTERDIS)*phi*M_PI/180);
  left.setDis = abs((R-CENTERDIS)*phi*M_PI/180);
  if (phi < 0){
	  left.setRPM = -1*left.setRPM;
	  left.dir = true;
	  right.setRPM = -1*right.setRPM;
	  right.dir = true;
  }
  //Re-initialize targeting to a rotation/distance
  right.distance_traveled = 0.0;
  left.distance_traveled = 0.0;
}
/* USER CODE END 4 */

void _Error_Handler(char *file, int line)
{
  while(1)
  {
  }
}
/* USER CODE BEGIN 4 */
void setPWM(TIM_HandleTypeDef timer, uint32_t channel, uint16_t period,
uint16_t pulse)
{
 HAL_TIM_PWM_Stop(&timer, channel); // stop generation of pwm
 TIM_OC_InitTypeDef sConfigOC;
 timer.Init.Period = period; // set the period duration
 HAL_TIM_PWM_Init(&timer); // Reinitialize with new period value
 sConfigOC.OCMode = TIM_OCMODE_PWM1;
 sConfigOC.Pulse = pulse; // set the pulse duration
 sConfigOC.OCPolarity = TIM_OCPOLARITY_HIGH;
 sConfigOC.OCFastMode = TIM_OCFAST_DISABLE;
 HAL_TIM_PWM_ConfigChannel(&timer, &sConfigOC, channel);
 HAL_TIM_PWM_Start(&timer, channel); // start pwm generation
}
static void initMot(){
	right.prevcount = __HAL_TIM_GET_COUNTER(&htim3);
	left.prevcount = __HAL_TIM_GET_COUNTER(&htim2);
	right.dir = false;
	left.dir = false;
	right.setRPM = 0.0;
	right.setDis = 0.0;
	right.distance_traveled=0.0;
	right.prevpos = 0.0;
	left.setRPM = 0.0;
	left.setDis = 0.0;
	left.distance_traveled=0.0;
	left.prevpos = 0.0;
}
/* USER CODE END 4 */

/************************ (C) COPYRIGHT STMicroelectronics *****END OF FILE****/
